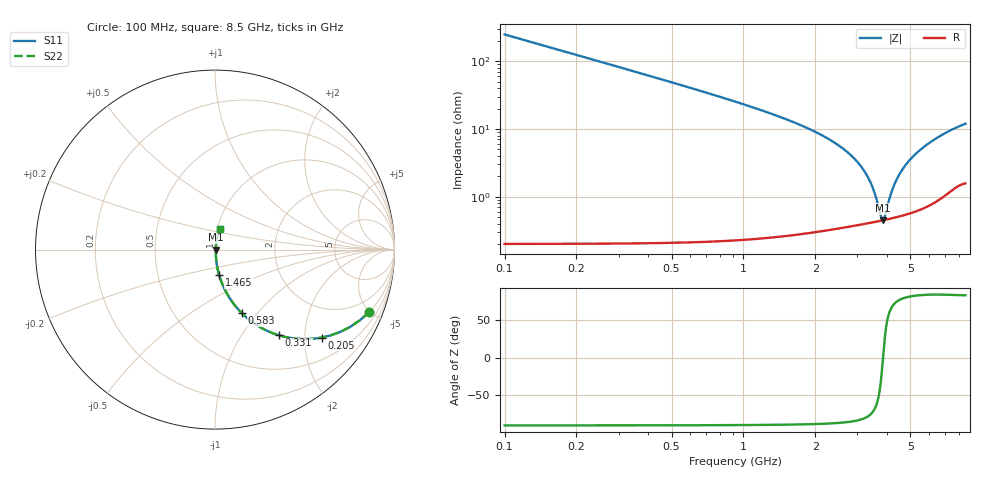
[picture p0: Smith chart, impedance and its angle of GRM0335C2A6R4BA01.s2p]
!Murata Part Number: GRM0335C2A6R4BA01
!These Parameters are Measured in Series Mode Connection
!Data Generated on Mar 30, 2021
!  o--ll--o
!Port1  Port2
!  o------o
!Operation Temp=25[degC], DC Bias Voltage=0[V]
!Freq. Start=100[MHz] Stop=9[GHz] 401[Steps]
# Hz S RI R 50
!Freq.(Hz) S11(Real) S11(Imag) S21(Real) S21(Imag) S12(Real) S12(Imag) S22(Real) S22(Imag)
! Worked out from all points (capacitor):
!   401 points, 100 MHz to 8.5 GHz, reference 50 ohm
!   read as one part in series: C = 6.4 pF near 142 MHz
!   lowest |Z| = 448 mohm at 3.838 GHz (marker M1)
!   series resonance near 3.841 GHz, so ESL is about 270 pH
!   S11 on the Smith chart (normalised r, x): 100 MHz: 1.00, -4.97; 205 MHz: 1.00, -2.42; 331 MHz: 1.00, -1.49; 583 MHz: 1.00, -0.83; 1.465 GHz: 1.01, -0.29; 8.5 GHz: 1.03, +0.24
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1e8  0.8604 -0.3461  0.1396 0.3461  0.1396 0.3461  0.8604 -0.3461
2.05e8  0.5938 -0.4903  0.4062 0.4903  0.4062 0.4903  0.5938 -0.4903
3.31e8  0.3577 -0.478  0.6423 0.478  0.6423 0.478  0.3577 -0.478
4.36e8  0.2414 -0.4261  0.7586 0.4261  0.7586 0.4261  0.2414 -0.4261
5.83e8  0.1491 -0.3537  0.8509 0.3537  0.8509 0.3537  0.1491 -0.3537
8.98e8  0.0659 -0.2438  0.9341 0.2438  0.9341 0.2438  0.0659 -0.2438
1.465e9  0.023 -0.1412  0.977 0.1412  0.977 0.1412  0.023 -0.1412
1.507e9  0.0215 -0.1361  0.9785 0.1361  0.9785 0.1361  0.0215 -0.1361
2.41e9  0.00715 -0.0618  0.9928 0.0618  0.9928 0.0618  0.00715 -0.0618
2.914e9  0.00499 -0.0359  0.995 0.0359  0.995 0.0359  0.00499 -0.0359
3.397e9  0.00434 -0.0159  0.9957 0.0159  0.9957 0.0159  0.00434 -0.0159
3.565e9  0.00432 -0.00963  0.9957 0.00963  0.9957 0.00963  0.00432 -0.00963
3.775e9  0.00441 -0.00225  0.9956 0.00225  0.9956 0.00225  0.00441 -0.00225
3.838e9  0.00446 -0.00011  0.9955 0.00011  0.9955 0.00011  0.00446 -0.00011
3.901e9  0.00451 0.00199  0.9955 -0.00199  0.9955 -0.00199  0.00451 0.00199
4.111e9  0.00478 0.00878  0.9952 -0.00878  0.9952 -0.00878  0.00478 0.00878
4.3e9  0.00509 0.0146  0.9949 -0.0146  0.9949 -0.0146  0.00509 0.0146
4.531e9  0.00557 0.0215  0.9944 -0.0215  0.9944 -0.0215  0.00557 0.0215
4.846e9  0.00639 0.0305  0.9936 -0.0305  0.9936 -0.0305  0.00639 0.0305
5.707e9  0.00958 0.0532  0.9904 -0.0532  0.9904 -0.0532  0.00958 0.0532
7.114e9  0.0183 0.0864  0.9817 -0.0864  0.9817 -0.0864  0.0183 0.0864
8.5e9  0.0286 0.1131  0.9714 -0.1131  0.9714 -0.1131  0.0286 0.1131
